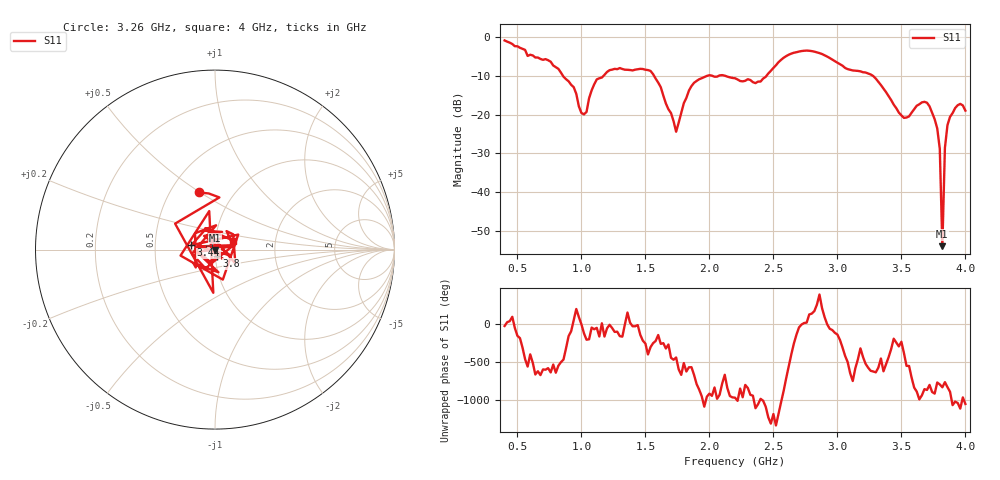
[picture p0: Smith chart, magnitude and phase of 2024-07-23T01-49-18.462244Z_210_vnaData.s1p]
!Created with skrf (http://scikit-rf.org).
# Hz S RI R 50.0
!freq ReS11 ImS11
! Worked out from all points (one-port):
!   181 points, 400 MHz to 4 GHz, reference 50 ohm
!   lowest |S11| = -54.0 dB at 3.82 GHz (marker M1), VSWR 1.00, Z = 49.9 - j0.184 ohm
!   |S11| at or under -10 dB: 856.1 MHz to 1.172 GHz (316.3 MHz wide, 31.2 % of centre); 1.568 GHz to 1.982 GHz (413.9 MHz wide, 23.3 % of centre); 3.278 GHz to end of sweep (the widest 3 of 5)
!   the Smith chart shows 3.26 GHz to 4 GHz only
!   S11 on the Smith chart (normalised r, x): 3.26 GHz: 0.69, +0.50; 3.44 GHz: 0.77, +0.04; 3.8 GHz: 1.02, -0.07; 4 GHz: 1.22, +0.12
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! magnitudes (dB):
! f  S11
! 400 MHz  -0.8
! 760 MHz  -6.3
! 860 MHz  -10.2
! 940 MHz  -12.9
! 1.02 GHz  -19.9
! 1.12 GHz  -10.9
! 1.3 GHz  -8.0
! 1.54 GHz  -8.7
! 1.62 GHz  -12.9
! 1.74 GHz  -24.4
! 1.76 GHz  -22.1
! 1.88 GHz  -11.8
! 2.2 GHz  -10.6
! 2.4 GHz  -11.5
! 2.66 GHz  -4.0
! 2.84 GHz  -3.9
! 3.1 GHz  -8.4
! 3.26 GHz  -9.6
! 3.44 GHz  -17.4
! 3.56 GHz  -20.5
! 3.7 GHz  -16.9
! 3.78 GHz  -23.6
! 3.8 GHz  -28.9
! 3.82 GHz  -54.0
! 3.84 GHz  -28.6
! 3.86 GHz  -22.7
! 3.94 GHz  -17.6
! 4 GHz  -19.0
